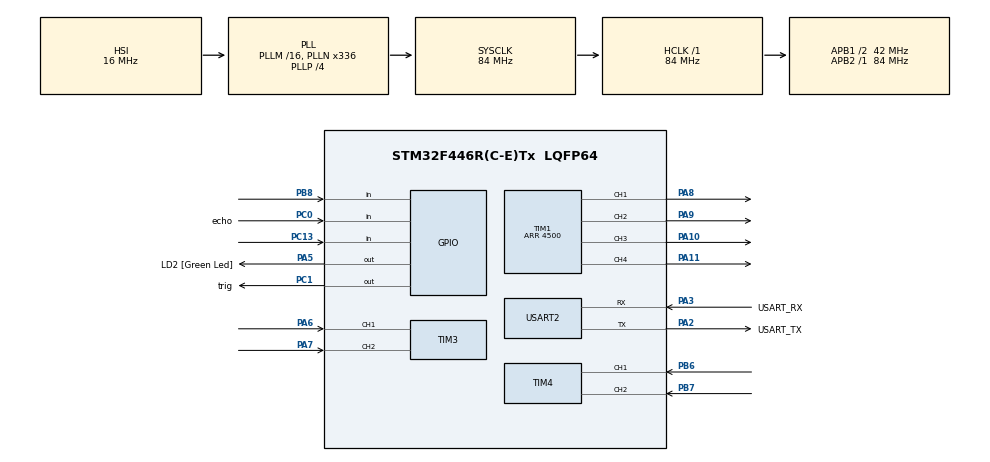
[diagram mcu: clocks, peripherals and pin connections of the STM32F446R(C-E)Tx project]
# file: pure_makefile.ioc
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Dma.Request0=USART2_RX
Dma.Request1=USART2_TX
Dma.USART2_RX.0.Direction=DMA_PERIPH_TO_MEMORY
Dma.USART2_RX.0.FIFOMode=DMA_FIFOMODE_DISABLE
Dma.USART2_RX.0.Instance=DMA1_Stream5
Dma.USART2_RX.0.MemDataAlignment=DMA_MDATAALIGN_BYTE
Dma.USART2_RX.0.MemInc=DMA_MINC_ENABLE
Dma.USART2_RX.0.Mode=DMA_CIRCULAR
Dma.USART2_RX.0.PeriphDataAlignment=DMA_PDATAALIGN_BYTE
Dma.USART2_RX.0.PeriphInc=DMA_PINC_DISABLE
Dma.USART2_RX.0.Priority=DMA_PRIORITY_VERY_HIGH
Dma.USART2_TX.1.Direction=DMA_MEMORY_TO_PERIPH
Dma.USART2_TX.1.FIFOMode=DMA_FIFOMODE_DISABLE
Dma.USART2_TX.1.Instance=DMA1_Stream6
Dma.USART2_TX.1.MemDataAlignment=DMA_MDATAALIGN_BYTE
Dma.USART2_TX.1.MemInc=DMA_MINC_ENABLE
Dma.USART2_TX.1.Mode=DMA_NORMAL
Dma.USART2_TX.1.PeriphDataAlignment=DMA_PDATAALIGN_BYTE
Dma.USART2_TX.1.PeriphInc=DMA_PINC_DISABLE
Dma.USART2_TX.1.Priority=DMA_PRIORITY_VERY_HIGH
FREERTOS.Tasks01=defaultTask,24,3000,StartDefaultTask,Default,NULL,Dynamic,NULL,NULL
FREERTOS.configUSE_NEWLIB_REENTRANT=1
Mcu.Family=STM32F4
Mcu.Name=STM32F446R(C-E)Tx
Mcu.Package=LQFP64
NVIC.DMA1_Stream5_IRQn=true\:5\:0\:false\:false\:true\:true\:false\:true\:true
NVIC.DMA1_Stream6_IRQn=true\:5\:0\:false\:false\:true\:true\:false\:true\:true
NVIC.PriorityGroup=NVIC_PRIORITYGROUP_4
NVIC.TIM2_IRQn=true\:15\:0\:true\:false\:true\:false\:false\:true\:true
NVIC.TIM7_IRQn=true\:5\:0\:true\:false\:true\:true\:true\:true\:true
NVIC.TIM8_TRG_COM_TIM14_IRQn=true\:5\:0\:false\:false\:true\:true\:true\:true\:true
NVIC.TimeBase=TIM2_IRQn
NVIC.TimeBaseIP=TIM2
NVIC.USART2_IRQn=true\:5\:0\:false\:false\:true\:true\:true\:true\:true
PA10.Signal=S_TIM1_CH3
PA11.Signal=S_TIM1_CH4
PA13.GPIO_Label=TMS
PA13.Mode=Trace_Asynchronous_SW
PA13.Signal=SYS_JTMS-SWDIO
PA14.GPIO_Label=TCK
PA14.Mode=Trace_Asynchronous_SW
PA14.Signal=SYS_JTCK-SWCLK
PA2.GPIO_Label=USART_TX
PA2.Mode=Asynchronous
PA2.Signal=USART2_TX
PA3.GPIO_Label=USART_RX
PA3.Mode=Asynchronous
PA3.Signal=USART2_RX
PA5.GPIO_Label=LD2 [Green Led]
PA5.Signal=GPIO_Output
PA6.GPIO_PuPd=GPIO_PULLUP
PA6.Signal=S_TIM3_CH1
PA7.GPIO_PuPd=GPIO_PULLUP
PA7.Signal=S_TIM3_CH2
PA8.Signal=S_TIM1_CH1
PA9.Signal=S_TIM1_CH2
PB3.GPIO_Label=SWO
PB3.Mode=Trace_Asynchronous_SW
PB3.Signal=SYS_JTDO-SWO
PB6.GPIO_PuPd=GPIO_PULLUP
PB6.Signal=S_TIM4_CH1
PB7.GPIO_PuPd=GPIO_PULLUP
PB7.Signal=S_TIM4_CH2
PB8.Signal=GPIO_Input
PC0.GPIO_Label=echo
PC0.Signal=GPIO_Input
PC1.GPIO_Label=trig
PC1.Signal=GPIO_Output
PC13.Signal=GPIO_Input
PC14-OSC32_IN.Signal=RCC_OSC32_IN
PC15-OSC32_OUT.Signal=RCC_OSC32_OUT
PH0-OSC_IN.Signal=RCC_OSC_IN
PH1-OSC_OUT.Signal=RCC_OSC_OUT
ProjectManager.HeapSize=0x200
ProjectManager.StackSize=0x400
ProjectManager.TargetToolchain=Makefile
RCC.AHBFreq_Value=84000000
RCC.APB1CLKDivider=RCC_HCLK_DIV2
RCC.APB1Freq_Value=42000000
RCC.APB1TimFreq_Value=84000000
RCC.APB2Freq_Value=84000000
RCC.APB2TimFreq_Value=84000000
RCC.CortexFreq_Value=84000000
RCC.FLatency-AdvancedSettings=FLASH_LATENCY_2
RCC.HCLKFreq_Value=84000000
RCC.HSE_VALUE=8000000
RCC.HSI_VALUE=16000000
RCC.PLLN=336
RCC.PLLP=RCC_PLLP_DIV4
RCC.SYSCLKFreq_VALUE=84000000
RCC.SYSCLKSource=RCC_SYSCLKSOURCE_PLLCLK
RCC.USBFreq_Value=168000000
RCC.VCOOutputFreq_Value=336000000
SH.S_TIM1_CH1.0=TIM1_CH1,PWM Generation1 CH1
SH.S_TIM1_CH2.0=TIM1_CH2,PWM Generation2 CH2
SH.S_TIM1_CH3.0=TIM1_CH3,PWM Generation3 CH3
SH.S_TIM1_CH4.0=TIM1_CH4,PWM Generation4 CH4
SH.S_TIM3_CH1.0=TIM3_CH1,Encoder_Interface
SH.S_TIM3_CH2.0=TIM3_CH2,Encoder_Interface
SH.S_TIM4_CH1.0=TIM4_CH1,Encoder_Interface
SH.S_TIM4_CH2.0=TIM4_CH2,Encoder_Interface
TIM1.Channel-PWM\ Generation1\ CH1=TIM_CHANNEL_1
TIM1.Channel-PWM\ Generation2\ CH2=TIM_CHANNEL_2
TIM1.Channel-PWM\ Generation3\ CH3=TIM_CHANNEL_3
TIM1.Channel-PWM\ Generation4\ CH4=TIM_CHANNEL_4
TIM1.Period=4500
TIM14.Period=840-1
TIM3.EncoderMode=TIM_ENCODERMODE_TI12
TIM4.EncoderMode=TIM_ENCODERMODE_TI12
TIM7.Period=999
TIM7.Prescaler=83
USART2.VirtualMode=VM_ASYNC
VP_FREERTOS_VS_CMSIS_V2.Mode=CMSIS_V2
VP_SYS_VS_tim2.Mode=TIM2
VP_TIM14_VS_ClockSourceINT.Mode=Enable_Timer
VP_TIM7_VS_ClockSourceINT.Mode=Enable_Timer
board=NUCLEO-F446RE

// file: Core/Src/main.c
/* USER CODE BEGIN Header */
/**
  ******************************************************************************
  * @file           : main.c
  * @brief          : Main program body
  ******************************************************************************
  * @attention
  *
  * Copyright (c) 2024 STMicroelectronics.
  * All rights reserved.
  *
  * This software is licensed under terms that can be found in the LICENSE file
  * in the root directory of this software component.
  * If no LICENSE file comes with this software, it is provided AS-IS.
  *
  ******************************************************************************
  */
/* USER CODE END Header */
#include "main.h"
#include "cmsis_os.h"

/* USER CODE BEGIN Includes */

#include "Odometry.h"
#include "Robot_Navi_Euro20.h"
#include "Motors.h"
#include <stdbool.h>
#include <rcl/rcl.h>
#include <rclc/rclc.h>
#include <geometry_msgs/geometry_msgs/msg/vector3.h>
#include <std_msgs/msg/bool.h>

extern int sum;
volatile bool evitementFlag=false;
extern volatile float current_x;
extern volatile float current_y;
extern volatile float current_phi_deg ;
extern volatile float left_radius,right_radius,spacing_encoder,spacing_wheel;

extern float** matrix;
extern int taille;
extern float Vx;
extern float Vz;
extern float PWMR,PWML,PWM_linear,PWM_angular;
extern int PWM;
extern int PWM_Min;
extern uint32_t right_forward;
extern uint32_t right_backward;
extern uint32_t left_forward;
extern uint32_t left_backward;
extern TIM_HandleTypeDef* htim_Motors;

extern int right_correction,left_correction;
extern volatile float total_right,d_right_counter;
extern volatile float total_left,d_left_counter,total_centre;
extern int PWM_LB,PWM_RB;
extern int coef_correct_dist;
extern volatile long total_right_count;
extern volatile long total_left_count;
extern float test;

extern volatile float spacing_wheel;

volatile int mutex_button=0;

extern float kp, ki;

extern volatile double left_speed,left_encoder_speed;
extern volatile double right_speed,right_encoder_speed;
extern volatile long t;
//unsigned long long int delta=0,t0=0;
extern int PWM_L,PWM_R;
extern int i ;
extern char buf[64];

extern double v_rx ;
extern double omega_r ;
volatile unsigned long ulHighFrequencyTimerTicks;

#include <rcl/rcl.h>
#include <rcl/error_handling.h>
#include <rclc/rclc.h>
#include <rclc/executor.h>
#include <uxr/client/transport.h>
#include <rmw_microxrcedds_c/config.h>
#include <rmw_microros/rmw_microros.h>
#include <std_msgs/msg/int32.h>
#include <service/srv/navi_stm.h>
#include <service/srv/set_variables.h>

/* USER CODE END Includes */

/* USER CODE BEGIN PTD */

bool cubemx_transport_open(struct uxrCustomTransport * transport);
bool cubemx_transport_close(struct uxrCustomTransport * transport);
size_t cubemx_transport_write(struct uxrCustomTransport* transport, const uint8_t * buf, size_t len, uint8_t * err);
size_t cubemx_transport_read(struct uxrCustomTransport* transport, uint8_t* buf, size_t len, int timeout, uint8_t* err);

void * microros_allocate(size_t size, void * state);
void microros_deallocate(void * pointer, void * state);
void * microros_reallocate(void * pointer, size_t size, void * state);
void * microros_zero_allocate(size_t number_of_elements, size_t size_of_element, void * state);

/* USER CODE END PTD */

/* USER CODE BEGIN PD */

//  ROS 2 Core Components
rcl_node_t node;
rclc_support_t support;
rcl_allocator_t allocator;

//  Publisher Components
rcl_publisher_t pose_publisher;

// Subscriber Components
rcl_subscription_t bool_subscriber;
std_msgs__msg__Bool bool_msg;

//  Service Components
rcl_service_t service;
rclc_executor_t executor ;
service__srv__NaviStm_Request request_msg;
service__srv__NaviStm_Response response_msg;

//  Service Callback
void service_callback(const void *request_msg, void *response_msg) {
    service__srv__NaviStm_Request *req_in = (service__srv__NaviStm_Request *)request_msg;
    service__srv__NaviStm_Response *res_out = (service__srv__NaviStm_Response *)response_msg;

    switch ((int)req_in->arg1) {
    			    	  		    case 0 :
    			    	  			    HAL_GPIO_WritePin(GPIOA, GPIO_PIN_5, 1);
    			    	  			    osDelay(10000);
    			    	  			    HAL_GPIO_WritePin(GPIOA, GPIO_PIN_5, 0);
    			    	  			    res_out->result=true;
    			    	  			    break;
    			    	  		    case 1:  // "move_distance"
    			    	  		        move_distance(req_in->arg2, req_in->arg3);
    			    	  		        res_out->result = true;
    			    	  		        break;
    			    	  		    case 2:  // "rotate"
    			    	  		        rotate(req_in->arg2, req_in->arg3);
    			    	  		        res_out->result = true;
    			    	  		        break;
    			    	  		    case 5:  // "robotlocate"
    			    	  		    	Robot_Locate(req_in->arg2, req_in->arg3,req_in->arg4);
    			    	  		      	res_out->result = true;
    			    	  		        break;
    			    	  		    case 10 :
    			    	  		    	PWM_R = 2000;
    			    	  		    	PWM_L = 2000;
    			    	  		    	run_motors();
    			    	  		    	break;
    			    	  		    default:
    			    	  		    	res_out->result=false ;
    			    	  		        // Invalid function number
    			    	  		    	stop_motors();
    			    	  		}
}

void bool_subscriber_callback(const void *msg_in) {
    const std_msgs__msg__Bool *msg = (const std_msgs__msg__Bool *)msg_in;
    evitementFlag = msg->data; // true = stop
//    if (evitementFlag==true){
//    	HAL_GPIO_WritePin(GPIOA, GPIO_PIN_5, 1);
//    	stop_motors();
//    }else{    	HAL_GPIO_WritePin(GPIOA, GPIO_PIN_5, 0);}

}

//  Publisher Task (Runs Independently)
void publisher_task(void *argument) {
    geometry_msgs__msg__Vector3 pose_msg;

    for (;;) {
        // Get pose data
        pose_msg.x = current_x;       // Replace with actual function
        pose_msg.y = current_y;
        pose_msg.z =current_phi_deg;   // Store θ in z

        rcl_publish(&pose_publisher, &pose_msg, NULL);
        osDelay(1000);  // Adjust as needed
    }
}

/* USER CODE END PD */

TIM_HandleTypeDef htim1;
TIM_HandleTypeDef htim3;
TIM_HandleTypeDef htim4;
TIM_HandleTypeDef htim7;
TIM_HandleTypeDef htim14;

UART_HandleTypeDef huart2;
DMA_HandleTypeDef hdma_usart2_rx;
DMA_HandleTypeDef hdma_usart2_tx;

/* Definitions for defaultTask */
osThreadId_t defaultTaskHandle;
const osThreadAttr_t defaultTask_attributes = {
  .name = "defaultTask",
  .stack_size = 3000 * 4,
  .priority = (osPriority_t) osPriorityNormal,
};

void SystemClock_Config(void);
static void MX_GPIO_Init(void);
static void MX_DMA_Init(void);
static void MX_TIM1_Init(void);
static void MX_TIM3_Init(void);
static void MX_TIM4_Init(void);
static void MX_TIM7_Init(void);
static void MX_USART2_UART_Init(void);
static void MX_TIM14_Init(void);
void StartDefaultTask(void *argument);

int main(void)
{

  /* MCU Configuration--------------------------------------------------------*/

  /* Reset of all peripherals, Initializes the Flash interface and the Systick. */
  HAL_Init();

  /* Configure the system clock */
  SystemClock_Config();

  /* Initialize all configured peripherals */
  MX_GPIO_Init();
  MX_DMA_Init();
  MX_TIM1_Init();
  MX_TIM3_Init();
  MX_TIM4_Init();
  MX_TIM7_Init();
  MX_USART2_UART_Init();
  MX_TIM14_Init();
  /* USER CODE BEGIN 2 */
  set_dimentions(40.55628236735574,40.55328236735574,348,227.9);//40.36836,40.59922,246,108.45 ROBOT SGHIR //40.36836,40.59922,265,120.2 ROBOT PRINCIPAL
         set_motors(&htim1,4499,TIM_CHANNEL_1,TIM_CHANNEL_2,TIM_CHANNEL_4,TIM_CHANNEL_3);
         set_right_encoder(&htim4,TIM4,1000,4,-1);//400 ROBOT KBIR
         set_left_encoder(&htim3,TIM3,1000,4,1);
         HAL_TIM_Base_Start_IT(&htim7);
         set_PWM_min (900,900,900,900);

  /* USER CODE END 2 */

  /* Init scheduler */
  osKernelInitialize();

  /* Create the thread(s) */
  /* creation of defaultTask */
  defaultTaskHandle = osThreadNew(StartDefaultTask, NULL, &defaultTask_attributes);

  /* Start scheduler */
  osKernelStart();

  /* We should never get here as control is now taken by the scheduler */

  /* Infinite loop */
  while (1)
  {

  }
}

void SystemClock_Config(void)
{
  RCC_OscInitTypeDef RCC_OscInitStruct = {0};
  RCC_ClkInitTypeDef RCC_ClkInitStruct = {0};

  /** Configure the main internal regulator output voltage
  */
  __HAL_RCC_PWR_CLK_ENABLE();
  __HAL_PWR_VOLTAGESCALING_CONFIG(PWR_REGULATOR_VOLTAGE_SCALE3);

  /** Initializes the RCC Oscillators according to the specified parameters
  * in the RCC_OscInitTypeDef structure.
  */
  RCC_OscInitStruct.OscillatorType = RCC_OSCILLATORTYPE_HSI;
  RCC_OscInitStruct.HSIState = RCC_HSI_ON;
  RCC_OscInitStruct.HSICalibrationValue = RCC_HSICALIBRATION_DEFAULT;
  RCC_OscInitStruct.PLL.PLLState = RCC_PLL_ON;
  RCC_OscInitStruct.PLL.PLLSource = RCC_PLLSOURCE_HSI;
  RCC_OscInitStruct.PLL.PLLM = 16;
  RCC_OscInitStruct.PLL.PLLN = 336;
  RCC_OscInitStruct.PLL.PLLP = RCC_PLLP_DIV4;
  RCC_OscInitStruct.PLL.PLLQ = 2;
  RCC_OscInitStruct.PLL.PLLR = 2;
  if (HAL_RCC_OscConfig(&RCC_OscInitStruct) != HAL_OK)
  {
    Error_Handler();
  }

  /** Initializes the CPU, AHB and APB buses clocks
  */
  RCC_ClkInitStruct.ClockType = RCC_CLOCKTYPE_HCLK|RCC_CLOCKTYPE_SYSCLK
                              |RCC_CLOCKTYPE_PCLK1|RCC_CLOCKTYPE_PCLK2;
  RCC_ClkInitStruct.SYSCLKSource = RCC_SYSCLKSOURCE_PLLCLK;
  RCC_ClkInitStruct.AHBCLKDivider = RCC_SYSCLK_DIV1;
  RCC_ClkInitStruct.APB1CLKDivider = RCC_HCLK_DIV2;
  RCC_ClkInitStruct.APB2CLKDivider = RCC_HCLK_DIV1;

  if (HAL_RCC_ClockConfig(&RCC_ClkInitStruct, FLASH_LATENCY_2) != HAL_OK)
  {
    Error_Handler();
  }
}

static void MX_TIM1_Init(void)
{

  TIM_MasterConfigTypeDef sMasterConfig = {0};
  TIM_OC_InitTypeDef sConfigOC = {0};
  TIM_BreakDeadTimeConfigTypeDef sBreakDeadTimeConfig = {0};

  htim1.Instance = TIM1;
  htim1.Init.Prescaler = 0;
  htim1.Init.CounterMode = TIM_COUNTERMODE_UP;
  htim1.Init.Period = 4500;
  htim1.Init.ClockDivision = TIM_CLOCKDIVISION_DIV1;
  htim1.Init.RepetitionCounter = 0;
  htim1.Init.AutoReloadPreload = TIM_AUTORELOAD_PRELOAD_DISABLE;
  if (HAL_TIM_PWM_Init(&htim1) != HAL_OK)
  {
    Error_Handler();
  }
  sMasterConfig.MasterOutputTrigger = TIM_TRGO_RESET;
  sMasterConfig.MasterSlaveMode = TIM_MASTERSLAVEMODE_DISABLE;
  if (HAL_TIMEx_MasterConfigSynchronization(&htim1, &sMasterConfig) != HAL_OK)
  {
    Error_Handler();
  }
  sConfigOC.OCMode = TIM_OCMODE_PWM1;
  sConfigOC.Pulse = 0;
  sConfigOC.OCPolarity = TIM_OCPOLARITY_HIGH;
  sConfigOC.OCNPolarity = TIM_OCNPOLARITY_HIGH;
  sConfigOC.OCFastMode = TIM_OCFAST_DISABLE;
  sConfigOC.OCIdleState = TIM_OCIDLESTATE_RESET;
  sConfigOC.OCNIdleState = TIM_OCNIDLESTATE_RESET;
  if (HAL_TIM_PWM_ConfigChannel(&htim1, &sConfigOC, TIM_CHANNEL_1) != HAL_OK)
  {
    Error_Handler();
  }
  if (HAL_TIM_PWM_ConfigChannel(&htim1, &sConfigOC, TIM_CHANNEL_2) != HAL_OK)
  {
    Error_Handler();
  }
  if (HAL_TIM_PWM_ConfigChannel(&htim1, &sConfigOC, TIM_CHANNEL_3) != HAL_OK)
  {
    Error_Handler();
  }
  if (HAL_TIM_PWM_ConfigChannel(&htim1, &sConfigOC, TIM_CHANNEL_4) != HAL_OK)
  {
    Error_Handler();
  }
  sBreakDeadTimeConfig.OffStateRunMode = TIM_OSSR_DISABLE;
  sBreakDeadTimeConfig.OffStateIDLEMode = TIM_OSSI_DISABLE;
  sBreakDeadTimeConfig.LockLevel = TIM_LOCKLEVEL_OFF;
  sBreakDeadTimeConfig.DeadTime = 0;
  sBreakDeadTimeConfig.BreakState = TIM_BREAK_DISABLE;
  sBreakDeadTimeConfig.BreakPolarity = TIM_BREAKPOLARITY_HIGH;
  sBreakDeadTimeConfig.AutomaticOutput = TIM_AUTOMATICOUTPUT_DISABLE;
  if (HAL_TIMEx_ConfigBreakDeadTime(&htim1, &sBreakDeadTimeConfig) != HAL_OK)
  {
    Error_Handler();
  }
  HAL_TIM_MspPostInit(&htim1);

}

static void MX_TIM3_Init(void)
{

  TIM_Encoder_InitTypeDef sConfig = {0};
  TIM_MasterConfigTypeDef sMasterConfig = {0};

  htim3.Instance = TIM3;
  htim3.Init.Prescaler = 0;
  htim3.Init.CounterMode = TIM_COUNTERMODE_UP;
  htim3.Init.Period = 65535;
  htim3.Init.ClockDivision = TIM_CLOCKDIVISION_DIV1;
  htim3.Init.AutoReloadPreload = TIM_AUTORELOAD_PRELOAD_DISABLE;
  sConfig.EncoderMode = TIM_ENCODERMODE_TI12;
  sConfig.IC1Polarity = TIM_ICPOLARITY_RISING;
  sConfig.IC1Selection = TIM_ICSELECTION_DIRECTTI;
  sConfig.IC1Prescaler = TIM_ICPSC_DIV1;
  sConfig.IC1Filter = 0;
  sConfig.IC2Polarity = TIM_ICPOLARITY_RISING;
  sConfig.IC2Selection = TIM_ICSELECTION_DIRECTTI;
  sConfig.IC2Prescaler = TIM_ICPSC_DIV1;
  sConfig.IC2Filter = 0;
  if (HAL_TIM_Encoder_Init(&htim3, &sConfig) != HAL_OK)
  {
    Error_Handler();
  }
  sMasterConfig.MasterOutputTrigger = TIM_TRGO_RESET;
  sMasterConfig.MasterSlaveMode = TIM_MASTERSLAVEMODE_DISABLE;
  if (HAL_TIMEx_MasterConfigSynchronization(&htim3, &sMasterConfig) != HAL_OK)
  {
    Error_Handler();
  }

}

static void MX_TIM4_Init(void)
{

  TIM_Encoder_InitTypeDef sConfig = {0};
  TIM_MasterConfigTypeDef sMasterConfig = {0};

  htim4.Instance = TIM4;
  htim4.Init.Prescaler = 0;
  htim4.Init.CounterMode = TIM_COUNTERMODE_UP;
  htim4.Init.Period = 65535;
  htim4.Init.ClockDivision = TIM_CLOCKDIVISION_DIV1;
  htim4.Init.AutoReloadPreload = TIM_AUTORELOAD_PRELOAD_DISABLE;
  sConfig.EncoderMode = TIM_ENCODERMODE_TI12;
  sConfig.IC1Polarity = TIM_ICPOLARITY_RISING;
  sConfig.IC1Selection = TIM_ICSELECTION_DIRECTTI;
  sConfig.IC1Prescaler = TIM_ICPSC_DIV1;
  sConfig.IC1Filter = 0;
  sConfig.IC2Polarity = TIM_ICPOLARITY_RISING;
  sConfig.IC2Selection = TIM_ICSELECTION_DIRECTTI;
  sConfig.IC2Prescaler = TIM_ICPSC_DIV1;
  sConfig.IC2Filter = 0;
  if (HAL_TIM_Encoder_Init(&htim4, &sConfig) != HAL_OK)
  {
    Error_Handler();
  }
  sMasterConfig.MasterOutputTrigger = TIM_TRGO_RESET;
  sMasterConfig.MasterSlaveMode = TIM_MASTERSLAVEMODE_DISABLE;
  if (HAL_TIMEx_MasterConfigSynchronization(&htim4, &sMasterConfig) != HAL_OK)
  {
    Error_Handler();
  }

}

static void MX_TIM7_Init(void)
{

  TIM_MasterConfigTypeDef sMasterConfig = {0};

  htim7.Instance = TIM7;
  htim7.Init.Prescaler = 83;
  htim7.Init.CounterMode = TIM_COUNTERMODE_UP;
  htim7.Init.Period = 999;
  htim7.Init.AutoReloadPreload = TIM_AUTORELOAD_PRELOAD_DISABLE;
  if (HAL_TIM_Base_Init(&htim7) != HAL_OK)
  {
    Error_Handler();
  }
  sMasterConfig.MasterOutputTrigger = TIM_TRGO_RESET;
  sMasterConfig.MasterSlaveMode = TIM_MASTERSLAVEMODE_DISABLE;
  if (HAL_TIMEx_MasterConfigSynchronization(&htim7, &sMasterConfig) != HAL_OK)
  {
    Error_Handler();
  }

}

static void MX_TIM14_Init(void)
{

  htim14.Instance = TIM14;
  htim14.Init.Prescaler = 0;
  htim14.Init.CounterMode = TIM_COUNTERMODE_UP;
  htim14.Init.Period = 840-1;
  htim14.Init.ClockDivision = TIM_CLOCKDIVISION_DIV1;
  htim14.Init.AutoReloadPreload = TIM_AUTORELOAD_PRELOAD_DISABLE;
  if (HAL_TIM_Base_Init(&htim14) != HAL_OK)
  {
    Error_Handler();
  }

}

static void MX_USART2_UART_Init(void)
{

  huart2.Instance = USART2;
  huart2.Init.BaudRate = 115200;
  huart2.Init.WordLength = UART_WORDLENGTH_8B;
  huart2.Init.StopBits = UART_STOPBITS_1;
  huart2.Init.Parity = UART_PARITY_NONE;
  huart2.Init.Mode = UART_MODE_TX_RX;
  huart2.Init.HwFlowCtl = UART_HWCONTROL_NONE;
  huart2.Init.OverSampling = UART_OVERSAMPLING_16;
  if (HAL_UART_Init(&huart2) != HAL_OK)
  {
    Error_Handler();
  }

}

static void MX_DMA_Init(void)
{

  /* DMA controller clock enable */
  __HAL_RCC_DMA1_CLK_ENABLE();

  /* DMA interrupt init */
  /* DMA1_Stream5_IRQn interrupt configuration */
  HAL_NVIC_SetPriority(DMA1_Stream5_IRQn, 5, 0);
  HAL_NVIC_EnableIRQ(DMA1_Stream5_IRQn);
  /* DMA1_Stream6_IRQn interrupt configuration */
  HAL_NVIC_SetPriority(DMA1_Stream6_IRQn, 5, 0);
  HAL_NVIC_EnableIRQ(DMA1_Stream6_IRQn);

}

static void MX_GPIO_Init(void)
{
  GPIO_InitTypeDef GPIO_InitStruct = {0};

  /* GPIO Ports Clock Enable */
  __HAL_RCC_GPIOC_CLK_ENABLE();
  __HAL_RCC_GPIOH_CLK_ENABLE();
  __HAL_RCC_GPIOA_CLK_ENABLE();
  __HAL_RCC_GPIOB_CLK_ENABLE();

  /*Configure GPIO pin Output Level */
  HAL_GPIO_WritePin(trig_GPIO_Port, trig_Pin, GPIO_PIN_RESET);

  /*Configure GPIO pin Output Level */
  HAL_GPIO_WritePin(LD2_GPIO_Port, LD2_Pin, GPIO_PIN_RESET);

  /*Configure GPIO pins : PC13 echo_Pin */
  GPIO_InitStruct.Pin = GPIO_PIN_13|echo_Pin;
  GPIO_InitStruct.Mode = GPIO_MODE_INPUT;
  GPIO_InitStruct.Pull = GPIO_NOPULL;
  HAL_GPIO_Init(GPIOC, &GPIO_InitStruct);

  /*Configure GPIO pin : trig_Pin */
  GPIO_InitStruct.Pin = trig_Pin;
  GPIO_InitStruct.Mode = GPIO_MODE_OUTPUT_PP;
  GPIO_InitStruct.Pull = GPIO_NOPULL;
  GPIO_InitStruct.Speed = GPIO_SPEED_FREQ_LOW;
  HAL_GPIO_Init(trig_GPIO_Port, &GPIO_InitStruct);

  /*Configure GPIO pin : LD2_Pin */
  GPIO_InitStruct.Pin = LD2_Pin;
  GPIO_InitStruct.Mode = GPIO_MODE_OUTPUT_PP;
  GPIO_InitStruct.Pull = GPIO_NOPULL;
  GPIO_InitStruct.Speed = GPIO_SPEED_FREQ_LOW;
  HAL_GPIO_Init(LD2_GPIO_Port, &GPIO_InitStruct);

  /*Configure GPIO pin : PB8 */
  GPIO_InitStruct.Pin = GPIO_PIN_8;
  GPIO_InitStruct.Mode = GPIO_MODE_INPUT;
  GPIO_InitStruct.Pull = GPIO_NOPULL;
  HAL_GPIO_Init(GPIOB, &GPIO_InitStruct);

}

void StartDefaultTask(void *argument)
{
  /* USER CODE BEGIN 5 */
	 // Set Micro-ROS transport
	    rmw_uros_set_custom_transport(true, (void *)&huart2,
	        cubemx_transport_open, cubemx_transport_close,
	        cubemx_transport_write, cubemx_transport_read);

	    // Init ROS 2
	    allocator = rcl_get_default_allocator();
	    rclc_support_init(&support, 0, NULL, &allocator);
	    rclc_node_init_default(&node, "cubemx_node", "", &support);

	    //  Initialize the Publisher
	    rclc_publisher_init_default(
	        &pose_publisher,
	        &node,
	        ROSIDL_GET_MSG_TYPE_SUPPORT(geometry_msgs, msg, Vector3),
	        "/pose_topic"
	    );
	    //  Initialize the Subscriber
	        rclc_subscription_init_default(
	            &bool_subscriber,
	            &node,
	            ROSIDL_GET_MSG_TYPE_SUPPORT(std_msgs, msg, Bool),
	            "/bool_topic"
	        );

	    //  initialize the Service
	    const rosidl_message_type_support_t *service_type_support =
	        ROSIDL_TYPESUPPORT_INTERFACE__SERVICE_SYMBOL_NAME(rosidl_typesupport_microxrcedds_c, service, srv, NaviStm)();
	    rclc_service_init_default(&service, &node, service_type_support, "/stm/navi_stm");

	    //  executor for handling both service and publisher
	    rclc_executor_init(&executor, &support.context, 15, &allocator);
	    rclc_executor_add_service(&executor, &service, &request_msg, &response_msg, service_callback);
	    rclc_executor_add_subscription(&executor, &bool_subscriber, &bool_msg, bool_subscriber_callback, ON_NEW_DATA);

	    const osThreadAttr_t pubTask_attributes = {
	        .name = "posePubTask",
	        .stack_size = 256 * 4,  // Adjust if needed
	        .priority = (osPriority_t) osPriorityNormal,
	    };
	    osThreadNew(publisher_task, NULL, &pubTask_attributes);

	    //  Keep ROS 2 Running
  /* Infinite loop */
  for(;;)
  {
	  rcl_ret_t ret = rclc_executor_spin_some(&executor, RCL_MS_TO_NS(10));
	 osDelay(1);
  }
  /* USER CODE END 5 */
}

void HAL_TIM_PeriodElapsedCallback(TIM_HandleTypeDef *htim)
{
  /* USER CODE BEGIN Callback 0 */
	if (htim-> Instance == TIM7)
	{
		update_position();
		PWM_sign_change_counter();
		if (t%T == 0)
			speed_calcul();
		if(HAL_GPIO_ReadPin(GPIOB, GPIO_PIN_8)==0){mutex_button=0;
		    HAL_GPIO_WritePin(GPIOA, GPIO_PIN_5, 0);}
		else if(HAL_GPIO_ReadPin(GPIOB, GPIO_PIN_8)==1){mutex_button=1;
		HAL_GPIO_WritePin(GPIOA, GPIO_PIN_5, 1);}
	}
  /* USER CODE END Callback 0 */
  if (htim->Instance == TIM2) {
    HAL_IncTick();
  }
}

void Error_Handler(void)
{
  __disable_irq();
  while (1)
  {
  }
}
